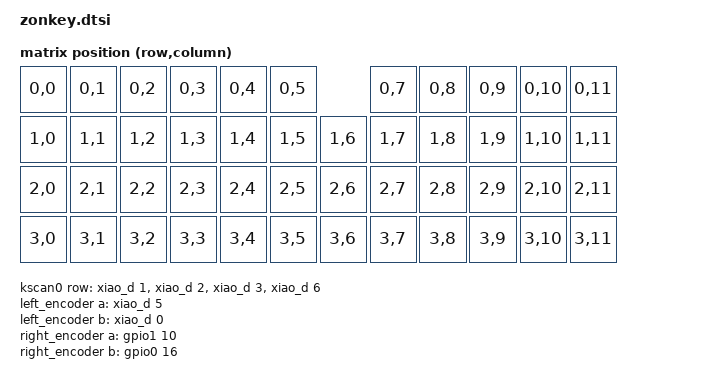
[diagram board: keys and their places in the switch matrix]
#include <dt-bindings/zmk/matrix_transform.h>

/ {
    chosen {
        zmk,kscan = &kscan0;
        zmk,matrix_transform = &default_transform;
    };

    default_transform: keymap_transform_0 {
        compatible = "zmk,matrix-transform";
        columns = <13>;
        rows = <4>;                
        map = <
            // 1行目: RC(0,6)が怪しいので飛ばし、直接 0,7 へ繋ぐ
            RC(0,0) RC(0,1) RC(0,2) RC(0,3) RC(0,4) RC(0,5)                     RC(0,7) RC(0,8) RC(0,9) RC(0,10) RC(0,11)
            // 2行目: 割り込んでいた RC(3,7) を削除
            RC(1,0) RC(1,1) RC(1,2) RC(1,3) RC(1,4) RC(1,5) RC(1,6)             RC(1,7) RC(1,8) RC(1,9) RC(1,10) RC(1,11)
            // 3行目: 割り込んでいた RC(3,8) を削除
            RC(2,0) RC(2,1) RC(2,2) RC(2,3) RC(2,4) RC(2,5) RC(2,6)             RC(2,7) RC(2,8) RC(2,9) RC(2,10) RC(2,11)
            // 4行目: ズレを戻すため、並びを整理（RC(3,6)から直接 3,9 or 3,7へ）
            RC(3,0) RC(3,1) RC(3,2) RC(3,3) RC(3,4) RC(3,5) RC(3,6)    RC(3,7) RC(3,8) RC(3,9) RC(3,10) RC(3,11)         
        >;
    };
    
    kscan0: kscan {
        compatible = "zmk,kscan-gpio-matrix";
        label = "KSCAN";
        diode-direction = "col2row";
            row-gpios
                = <&xiao_d 1 (GPIO_ACTIVE_HIGH | GPIO_PULL_DOWN)> 
                , <&xiao_d 2 (GPIO_ACTIVE_HIGH | GPIO_PULL_DOWN)> 
                , <&xiao_d 3 (GPIO_ACTIVE_HIGH | GPIO_PULL_DOWN)> 
                , <&xiao_d 6 (GPIO_ACTIVE_HIGH | GPIO_PULL_DOWN)> 			
                ;
    };
left_encoder: encoder_left {
        compatible = "alps,ec11";
        a-gpios = <&xiao_d 5 (GPIO_ACTIVE_HIGH | GPIO_PULL_UP)>;
        b-gpios = <&xiao_d 0 (GPIO_ACTIVE_HIGH | GPIO_PULL_UP)>;
        steps = <24>;
        status = "disabled";
    };

right_encoder: encoder_right {
        compatible = "alps,ec11";
        a-gpios = <&gpio1 10 (GPIO_ACTIVE_HIGH | GPIO_PULL_UP)>;
        b-gpios = <&gpio0 16 (GPIO_ACTIVE_HIGH | GPIO_PULL_UP)>; 
        steps = <24>;
        status = "disabled";
    };

    sensors: sensors {
        compatible = "zmk,keymap-sensors";
        sensors = <&left_encoder &right_encoder>;
        triggers-per-rotation = <10>;
    };
};
